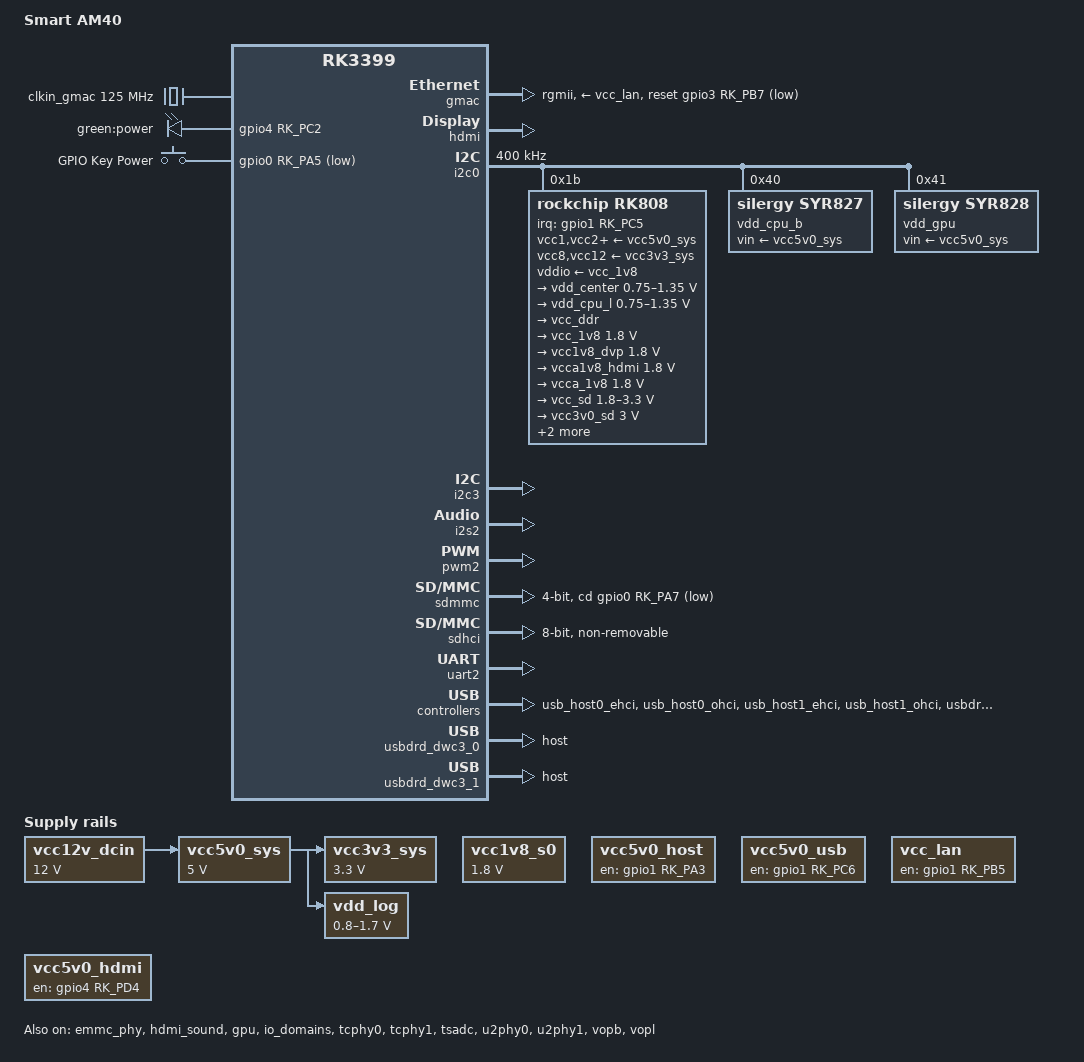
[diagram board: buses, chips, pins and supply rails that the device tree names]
// SPDX-License-Identifier: (GPL-2.0+ OR MIT)
/dts-v1/;

#include <dt-bindings/pwm/pwm.h>
#include <dt-bindings/input/input.h>
#include <dt-bindings/interrupt-controller/irq.h>
#include "rk3399.dtsi"
#include "rk3399-opp.dtsi"

/ {
	model = "Smart AM40";
	compatible = "smart,am40", "rockchip,rk3399";

	aliases {
		mmc0 = &sdmmc;
		mmc1 = &sdhci;
	};

	chosen {
		stdout-path = "serial2:1500000n8";
	};

	clkin_gmac: external-gmac-clock {
		compatible = "fixed-clock";
		clock-frequency = <125000000>;
		clock-output-names = "clkin_gmac";
		#clock-cells = <0>;
	};

	vcc12v_dcin: vcc12v-dcin {
		compatible = "regulator-fixed";
		regulator-name = "vcc12v_dcin";
		regulator-always-on;
		regulator-boot-on;
		regulator-min-microvolt = <12000000>;
		regulator-max-microvolt = <12000000>;
	};

	/* switched by pmic_sleep */
	vcc1v8_s0: vcc1v8-s0 {
		compatible = "regulator-fixed";
		regulator-name = "vcc1v8_s0";
		regulator-always-on;
		regulator-boot-on;
		regulator-min-microvolt = <1800000>;
		regulator-max-microvolt = <1800000>;
	};

	vcc3v3_sys: vcc3v3-sys {
		compatible = "regulator-fixed";
		regulator-name = "vcc3v3_sys";
		regulator-always-on;
		regulator-boot-on;
		regulator-min-microvolt = <3300000>;
		regulator-max-microvolt = <3300000>;
		vin-supply = <&vcc5v0_sys>;
	};

	vcc5v0_host: vcc5v0-host-regulator {
		compatible = "regulator-fixed";
		enable-active-high;
		gpio = <&gpio1 RK_PA3 GPIO_ACTIVE_HIGH>;
		pinctrl-names = "default";
		pinctrl-0 = <&vcc5v0_host_en>;
		regulator-name = "vcc5v0_host";
		regulator-always-on;
		regulator-boot-on;
	};

	vcc5v0_usb: vcc5v0-usb-regulator {
		compatible = "regulator-fixed";
		enable-active-high;
		gpio = <&gpio1 RK_PC6 GPIO_ACTIVE_HIGH>;
		pinctrl-names = "default";
		pinctrl-0 = <&otg_vbus_pin>;
		regulator-name = "vcc5v0_usb";
		regulator-always-on;
		regulator-boot-on;
	};

	vcc5v0_sys: vcc-sys {
		compatible = "regulator-fixed";
		regulator-name = "vcc5v0_sys";
		regulator-always-on;
		regulator-boot-on;
		regulator-min-microvolt = <5000000>;
		regulator-max-microvolt = <5000000>;
		vin-supply = <&vcc12v_dcin>;
	};

	vcc_lan: vcc-lan {
		compatible = "regulator-fixed";
		enable-active-high;
		gpio = <&gpio1 RK_PB5 GPIO_ACTIVE_HIGH>;
		pinctrl-names = "default";
		pinctrl-0 = <&vcc_lan_en>;
		regulator-always-on;
		regulator-name = "vcc_lan";
	};

	vcc5v0_hdmi: vcc5v0-hdmi {
		compatible = "regulator-fixed";
		enable-active-high;
		gpio = <&gpio4 RK_PD4 GPIO_ACTIVE_HIGH>;
		pinctrl-names = "default";
		pinctrl-0 = <&vcc5v0_hdmi_en>;
		regulator-always-on;
		regulator-name = "vcc5v0_hdmi";
	};

	vdd_log: vdd-log {
		compatible = "pwm-regulator";
		pwms = <&pwm2 0 25000 1>;
		pwm-supply = <&vcc5v0_sys>;
		regulator-name = "vdd_log";
		regulator-always-on;
		regulator-boot-on;
		regulator-min-microvolt = <800000>;
		regulator-max-microvolt = <1700000>;
	};

	leds {
		compatible = "gpio-leds";
		pinctrl-names = "default";
		pinctrl-0 = <&power_led_pin>;

		power_led: power-led {
			label = "green:power";
			default-state = "on";
			gpios = <&gpio4 RK_PC2 GPIO_ACTIVE_HIGH>;
		};
	};

	gpio-keys {
		compatible = "gpio-keys";
		autorepeat;
		pinctrl-names = "default";
		pinctrl-0 = <&pwrbtn>;

		key-power {
			debounce-interval = <100>;
			gpios = <&gpio0 RK_PA5 GPIO_ACTIVE_LOW>; // bsp
			label = "GPIO Key Power";
			linux,code = <KEY_POWER>;
			wakeup-source;
		};
	};
};

&cpu_l0 {
	cpu-supply = <&vdd_cpu_l>;
};

&cpu_l1 {
	cpu-supply = <&vdd_cpu_l>;
};

&cpu_l2 {
	cpu-supply = <&vdd_cpu_l>;
};

&cpu_l3 {
	cpu-supply = <&vdd_cpu_l>;
};

&cpu_b0 {
	cpu-supply = <&vdd_cpu_b>;
};

&cpu_b1 {
	cpu-supply = <&vdd_cpu_b>;
};

&emmc_phy {
	status = "okay";
};

&gmac {
	assigned-clocks = <&cru SCLK_RMII_SRC>;
	assigned-clock-parents = <&clkin_gmac>;
	clock_in_out = "input";
	phy-supply = <&vcc_lan>;
	phy-mode = "rgmii";
	pinctrl-names = "default";
	pinctrl-0 = <&rgmii_pins>;
	snps,reset-gpio = <&gpio3 RK_PB7 GPIO_ACTIVE_LOW>;
	snps,reset-active-low;
	snps,reset-delays-us = <0 10000 50000>;
	tx_delay = <0x1e>;
	rx_delay = <0x1e>;
	status = "okay";
};

&hdmi {
	ddc-i2c-bus = <&i2c3>;
	status = "okay";
};

&hdmi_sound {
	status = "okay";
};

&gpu {
	mali-supply = <&vdd_gpu>;
	status = "okay";
};

&i2c0 {
	clock-frequency = <400000>;
	i2c-scl-rising-time-ns = <168>;
	i2c-scl-falling-time-ns = <4>;
	status = "okay";

	rk808: pmic@1b {
		compatible = "rockchip,rk808";
		reg = <0x1b>;
		interrupt-parent = <&gpio1>;
		interrupts = <RK_PC5 IRQ_TYPE_LEVEL_LOW>;
		#clock-cells = <1>;
		clock-output-names = "xin32k", "rk808-clkout2";
		pinctrl-names = "default";
		pinctrl-0 = <&pmic_int_l>;
		rockchip,system-power-controller;
		wakeup-source;

		vcc1-supply = <&vcc5v0_sys>;
		vcc2-supply = <&vcc5v0_sys>;
		vcc3-supply = <&vcc5v0_sys>;
		vcc4-supply = <&vcc5v0_sys>;
		vcc6-supply = <&vcc5v0_sys>;
		vcc7-supply = <&vcc5v0_sys>;
		vcc8-supply = <&vcc3v3_sys>;
		vcc9-supply = <&vcc5v0_sys>;
		vcc10-supply = <&vcc5v0_sys>;
		vcc11-supply = <&vcc5v0_sys>;
		vcc12-supply = <&vcc3v3_sys>;
		vddio-supply = <&vcc_1v8>;

		regulators {
			vdd_center: DCDC_REG1 {
				regulator-name = "vdd_center";
				regulator-always-on;
				regulator-boot-on;
				regulator-min-microvolt = <750000>;
				regulator-max-microvolt = <1350000>;
				regulator-ramp-delay = <6001>;
				regulator-state-mem {
					regulator-off-in-suspend;
				};
			};

			vdd_cpu_l: DCDC_REG2 {
				regulator-name = "vdd_cpu_l";
				regulator-always-on;
				regulator-boot-on;
				regulator-min-microvolt = <750000>;
				regulator-max-microvolt = <1350000>;
				regulator-ramp-delay = <6001>;
				regulator-state-mem {
					regulator-off-in-suspend;
				};
			};

			vcc_ddr: DCDC_REG3 {
				regulator-name = "vcc_ddr";
				regulator-always-on;
				regulator-boot-on;
				regulator-state-mem {
					regulator-on-in-suspend;
				};
			};

			vcc_1v8: DCDC_REG4 {
				regulator-name = "vcc_1v8";
				regulator-always-on;
				regulator-boot-on;
				regulator-min-microvolt = <1800000>;
				regulator-max-microvolt = <1800000>;
				regulator-state-mem {
					regulator-on-in-suspend;
					regulator-suspend-microvolt = <1800000>;
				};
			};

			vcc1v8_dvp: LDO_REG1 {
				regulator-name = "vcc1v8_dvp";
				regulator-always-on;
				regulator-boot-on;
				regulator-min-microvolt = <1800000>;
				regulator-max-microvolt = <1800000>;
				regulator-state-mem {
					regulator-on-in-suspend;
					regulator-suspend-microvolt = <1800000>;
				};
			};

			vcca1v8_hdmi: LDO_REG2 {
				regulator-name = "vcca1v8_hdmi";
				regulator-always-on;
				regulator-boot-on;
				regulator-min-microvolt = <1800000>;
				regulator-max-microvolt = <1800000>;
				regulator-state-mem {
					regulator-off-in-suspend;
				};
			};

			vcca_1v8: LDO_REG3 {
				regulator-name = "vcca_1v8";
				regulator-always-on;
				regulator-boot-on;
				regulator-min-microvolt = <1800000>;
				regulator-max-microvolt = <1800000>;
				regulator-state-mem {
					regulator-on-in-suspend;
					regulator-suspend-microvolt = <1800000>;
				};
			};

			vcc_sd: LDO_REG4 {
				regulator-name = "vcc_sd";
				regulator-always-on;
				regulator-boot-on;
				regulator-min-microvolt = <1800000>;
				regulator-max-microvolt = <3300000>;
				regulator-state-mem {
					regulator-on-in-suspend;
					regulator-suspend-microvolt = <3000000>;
				};
			};

			vcc3v0_sd: LDO_REG5 {
				regulator-name = "vcc3v0_sd";
				regulator-always-on;
				regulator-boot-on;
				regulator-min-microvolt = <3000000>;
				regulator-max-microvolt = <3000000>;
				regulator-state-mem {
					regulator-on-in-suspend;
				};
			};

			vcc_1v5: LDO_REG6 {
				regulator-name = "vcc_1v5";
				regulator-always-on;
				regulator-boot-on;
				regulator-min-microvolt = <1500000>;
				regulator-max-microvolt = <1500000>;
				regulator-state-mem {
					regulator-off-in-suspend;
				};
			};

			vcca0v9_hdmi: LDO_REG7 {
				regulator-name = "vcca0v9_hdmi";
				regulator-always-on;
				regulator-boot-on;
				regulator-min-microvolt = <900000>;
				regulator-max-microvolt = <900000>;
				regulator-state-mem {
					regulator-off-in-suspend;
				};
			};

			vcc_3v0: LDO_REG8 {
				regulator-name = "vcc_3v0";
				regulator-always-on;
				regulator-boot-on;
				regulator-min-microvolt = <3000000>;
				regulator-max-microvolt = <3000000>;
				regulator-state-mem {
					regulator-off-in-suspend;
				};
			};

			vcc3v3_s3: SWITCH_REG1 {
				regulator-name = "vcc3v3_s3";
				regulator-always-on;
				regulator-boot-on;
				regulator-state-mem {
					regulator-on-in-suspend;
				};
			};

			vcc3v3_s0: SWITCH_REG2 {
				regulator-name = "vcc3v3_s0";
				regulator-always-on;
				regulator-boot-on;
				regulator-state-mem {
					regulator-on-in-suspend;
				};
			};
		};
	};

	vdd_cpu_b: regulator@40 {
		compatible = "silergy,syr827";
		reg = <0x40>;
		fcs,suspend-voltage-selector = <1>;
		pinctrl-names = "default";
		pinctrl-0 = <&cpu_b_sleep>;
		regulator-name = "vdd_cpu_b";
		regulator-min-microvolt = <712500>;
		regulator-max-microvolt = <1500000>;
		regulator-ramp-delay = <1000>;
		regulator-always-on;
		regulator-boot-on;
		vin-supply = <&vcc5v0_sys>;

		regulator-state-mem {
			regulator-off-in-suspend;
		};
	};

	vdd_gpu: regulator@41 {
		compatible = "silergy,syr828";
		reg = <0x41>;
		fcs,suspend-voltage-selector = <1>;
		pinctrl-names = "default";
		pinctrl-0 = <&gpu_sleep>;
		regulator-name = "vdd_gpu";
		regulator-min-microvolt = <712500>;
		regulator-max-microvolt = <1500000>;
		regulator-ramp-delay = <1000>;
		regulator-always-on;
		regulator-boot-on;
		vin-supply = <&vcc5v0_sys>;

		regulator-state-mem {
			regulator-off-in-suspend;
		};
	};
};

&i2c3 {
	i2c-scl-rising-time-ns = <450>;
	i2c-scl-falling-time-ns = <15>;
	status = "okay";
};

// HDMI SOUND OUT
&i2s2 {
	status = "okay";
};

&io_domains {
	status = "okay";
	bt656-supply = <&vcc1v8_s0>;
	audio-supply = <&vcc1v8_s0>;
	sdmmc-supply = <&vcc_sd>;
	gpio1830-supply = <&vcc_3v0>;
};

// &pcie_phy {
// 	status = "okay";
// };

// &pcie0 {
// 	status = "okay";
// 	ep-gpios = <&gpio0 RK_PB5 GPIO_ACTIVE_HIGH>;
// 	num-lanes = <4>;
// 	pinctrl-names = "default";
// 	pinctrl-0 = <&pcie_perst>;
// };

&pmu_io_domains {
	status = "okay";
	pmu1830-supply = <&vcc_3v0>;
};

&pinctrl {
	power {
		vcc_lan_en: vcc-phy-en {
			rockchip,pins =
				<1 RK_PB5 RK_FUNC_GPIO &pcfg_pull_none>; // bsp
		};

		vcc5v0_hdmi_en: vcc5v0-hdmi-en {
			rockchip,pins =
				<4 RK_PD4 RK_FUNC_GPIO &pcfg_pull_none>; // bsp
		};
	};

	pcie {
		pcie_perst: pcie-perst {
			rockchip,pins = <0 RK_PB5 RK_FUNC_GPIO &pcfg_pull_none>;
		};
	};
	pmic {
		cpu_b_sleep: cpu-b-sleep {
			rockchip,pins = <1 RK_PC1 RK_FUNC_GPIO &pcfg_pull_down>;
		};

		gpu_sleep: gpu-sleep {
			rockchip,pins = <1 RK_PB6 RK_FUNC_GPIO &pcfg_pull_down>;
		};

		pmic_int_l: pmic-int-l {
			rockchip,pins = <1 RK_PC5 RK_FUNC_GPIO &pcfg_pull_up>;
		};
	};

	usb {
		vcc5v0_host_en: vcc5v0-host-en {
			rockchip,pins = <1 RK_PA3 RK_FUNC_GPIO &pcfg_pull_up>;
		};
		otg_vbus_pin: otg-vbus-pin {
			rockchip,pins = <1 RK_PC6 RK_FUNC_GPIO &pcfg_pull_up>;
		};
	};

	leds {
		power_led_pin: power-led-pin {
			rockchip,pins = <4 RK_PC2 RK_FUNC_GPIO &pcfg_pull_down>;
		};
	};

	gmac {
		phy_rstb: phy-rstb {
			rockchip,pins = <3 RK_PB7 RK_FUNC_GPIO &pcfg_pull_none>;
		};
	};

	virtual-pd0 {
		dp_det_pin: dp-det-pin {
			rockchip,pins = <4 RK_PD1 RK_FUNC_GPIO &pcfg_pull_none>;
		};
	};

	buttons {
		pwrbtn: pwrbtn {
			rockchip,pins = <0 RK_PA5 RK_FUNC_GPIO &pcfg_pull_up>; // bsp
		};
	};
};

&pwm2 {
	status = "okay";
};

&sdmmc {
	bus-width = <4>;
	cap-mmc-highspeed;
	cap-sd-highspeed;
	cd-gpios = <&gpio0 RK_PA7 GPIO_ACTIVE_LOW>;
	clock-frequency = <150000000>;
	disable-wp;
	max-frequency = <150000000>;
	pinctrl-names = "default";
	pinctrl-0 = <&sdmmc_clk &sdmmc_cmd &sdmmc_cd &sdmmc_bus4>;
	vqmmc-supply = <&vcc_sd>;
	status = "okay";
};

&sdhci {
	bus-width = <8>;
	mmc-hs400-1_8v;
	mmc-hs400-enhanced-strobe;
	non-removable;
	status = "okay";
};

&tcphy0 {
	status = "okay";
};

&tcphy1 {
	status = "okay";
};

&tsadc {
	rockchip,hw-tshut-mode = <1>;
	rockchip,hw-tshut-polarity = <1>;
	status = "okay";
};

&u2phy0 {
	status = "okay";

	u2phy0_otg: otg-port {
		status = "okay";
	};

	u2phy0_host: host-port {
		phy-supply = <&vcc5v0_host>;
		status = "okay";
	};
};

&u2phy1 {
	status = "okay";

	u2phy1_otg: otg-port {
		status = "okay";
	};

	u2phy1_host: host-port {
		phy-supply = <&vcc5v0_host>;
		status = "okay";
	};
};

// Debug TTL
&uart2 {
	status = "okay";
};

&usb_host0_ehci {
	status = "okay";
};

&usb_host0_ohci {
	status = "okay";
};

&usb_host1_ehci {
	status = "okay";
};

&usb_host1_ohci {
	status = "okay";
};

&usbdrd3_0 {
	status = "okay";
};

&usbdrd_dwc3_0 {
	status = "okay";
	dr_mode = "host";
};

&usbdrd3_1 {
	status = "okay";
};

&usbdrd_dwc3_1 {
	status = "okay";
	dr_mode = "host";
};

&vopb {
	status = "okay";
};

&vopb_mmu {
	status = "okay";
};

&vopl {
	status = "okay";
};

&vopl_mmu {
	status = "okay";
};
